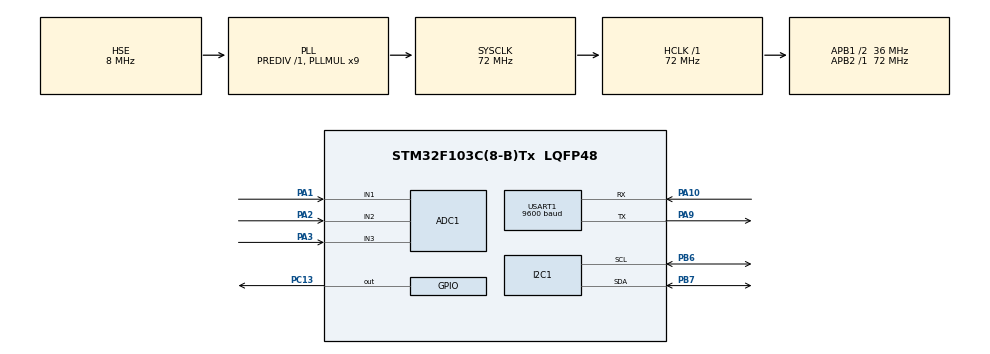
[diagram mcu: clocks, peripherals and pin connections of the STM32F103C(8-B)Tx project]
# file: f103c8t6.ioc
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ADC1.Channel-1\#ChannelRegularConversion=ADC_CHANNEL_1
ADC1.Channel-2\#ChannelRegularConversion=ADC_CHANNEL_1
ADC1.Channel-3\#ChannelRegularConversion=ADC_CHANNEL_1
ADC1.ContinuousConvMode=DISABLE
ADC1.EnableInjectedConversion=DISABLE
ADC1.ExternalTrigConv=ADC_EXTERNALTRIGCONV_T2_CC2
ADC1.InjNumberOfConversion=0
ADC1.NbrOfConversion=3
ADC1.NbrOfConversionFlag=1
ADC1.Rank-1\#ChannelRegularConversion=1
ADC1.Rank-2\#ChannelRegularConversion=2
ADC1.Rank-3\#ChannelRegularConversion=3
ADC1.SamplingTime-1\#ChannelRegularConversion=ADC_SAMPLETIME_1CYCLE_5
ADC1.SamplingTime-2\#ChannelRegularConversion=ADC_SAMPLETIME_1CYCLE_5
ADC1.SamplingTime-3\#ChannelRegularConversion=ADC_SAMPLETIME_1CYCLE_5
ADC1.master=1
Dma.ADC1.0.Direction=DMA_PERIPH_TO_MEMORY
Dma.ADC1.0.Instance=DMA1_Channel1
Dma.ADC1.0.MemDataAlignment=DMA_MDATAALIGN_HALFWORD
Dma.ADC1.0.MemInc=DMA_MINC_ENABLE
Dma.ADC1.0.Mode=DMA_CIRCULAR
Dma.ADC1.0.PeriphDataAlignment=DMA_PDATAALIGN_HALFWORD
Dma.ADC1.0.PeriphInc=DMA_PINC_DISABLE
Dma.ADC1.0.Priority=DMA_PRIORITY_HIGH
Dma.Request0=ADC1
Mcu.Family=STM32F1
Mcu.Name=STM32F103C(8-B)Tx
Mcu.Package=LQFP48
NVIC.ADC1_2_IRQn=true\:5\:0\:true\:false\:true\:true\:true
NVIC.DMA1_Channel1_IRQn=true\:0\:0\:false\:false\:true\:false\:true
NVIC.PriorityGroup=NVIC_PRIORITYGROUP_4
NVIC.TIM2_IRQn=true\:1\:0\:true\:false\:true\:true\:true
NVIC.TIM3_IRQn=true\:2\:0\:true\:false\:true\:true\:true
PA1.Signal=ADCx_IN1
PA10.Mode=Asynchronous
PA10.Signal=USART1_RX
PA13.Mode=Serial_Wire
PA13.Signal=SYS_JTMS-SWDIO
PA14.Mode=Serial_Wire
PA14.Signal=SYS_JTCK-SWCLK
PA2.Signal=ADCx_IN2
PA3.Signal=ADCx_IN3
PA9.Mode=Asynchronous
PA9.Signal=USART1_TX
PB6.Mode=I2C
PB6.Signal=I2C1_SCL
PB7.Mode=I2C
PB7.Signal=I2C1_SDA
PC13-TAMPER-RTC.Signal=GPIO_Output
PD0-OSC_IN.Mode=HSE-External-Oscillator
PD0-OSC_IN.Signal=RCC_OSC_IN
PD1-OSC_OUT.Mode=HSE-External-Oscillator
PD1-OSC_OUT.Signal=RCC_OSC_OUT
ProjectManager.HeapSize=0x200
ProjectManager.StackSize=0x400
ProjectManager.TargetToolchain=SW4STM32
RCC.ADCPresc=RCC_ADCPCLK2_DIV6
RCC.AHBFreq_Value=72000000
RCC.APB1CLKDivider=RCC_HCLK_DIV2
RCC.APB1Freq_Value=36000000
RCC.APB1TimFreq_Value=72000000
RCC.APB2Freq_Value=72000000
RCC.APB2TimFreq_Value=72000000
RCC.HCLKFreq_Value=72000000
RCC.PLLMUL=RCC_PLL_MUL9
RCC.PLLSourceVirtual=RCC_PLLSOURCE_HSE
RCC.SYSCLKFreq_VALUE=72000000
RCC.SYSCLKSource=RCC_SYSCLKSOURCE_PLLCLK
RCC.USBFreq_Value=72000000
SH.ADCx_IN1.0=ADC1_IN1,IN1
SH.ADCx_IN2.0=ADC1_IN2,IN2
SH.ADCx_IN3.0=ADC1_IN3,IN3
TIM2.AutoReloadPreload=TIM_AUTORELOAD_PRELOAD_ENABLE
TIM2.Channel-PWM\ Generation2\ No\ Output=TIM_CHANNEL_2
TIM2.Period=20
TIM2.Prescaler=71
TIM3.Period=1000
TIM3.Prescaler=71
USART1.BaudRate=9600
USART1.VirtualMode=VM_ASYNC
VP_ADC1_TempSens_Input.Mode=IN-TempSens
VP_ADC1_Vref_Input.Mode=IN-Vrefint
VP_TIM2_VS_ClockSourceINT.Mode=Internal
VP_TIM2_VS_no_output2.Mode=PWM Generation2 No Output
VP_TIM3_VS_ClockSourceINT.Mode=Internal
board=custom

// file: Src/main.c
/* USER CODE BEGIN Header */
/**
  ******************************************************************************
  * @file           : main.c
  * @brief          : Main program body
  ******************************************************************************
  * @attention
  *
  * <h2><center>&copy; Copyright (c) 2021 STMicroelectronics.
  * All rights reserved.</center></h2>
  *
  * This software component is licensed by ST under BSD 3-Clause license,
  * the "License"; You may not use this file except in compliance with the
  * License. You may obtain a copy of the License at:
  *                        opensource.org/licenses/BSD-3-Clause
  *
  ******************************************************************************
  */
/* USER CODE END Header */
#include "main.h"
#include "adc.h"
#include "dma.h"
#include "i2c.h"
#include "tim.h"
#include "usart.h"
#include "gpio.h"

/* USER CODE BEGIN Includes */
#include <stdio.h>
#include <stdbool.h>
#include "valuepack.h"
#include "retarget.h"
#include "oled.h"
/* USER CODE END Includes */

/* USER CODE BEGIN PD */
#define ADC_MAX_NUM 3*100
#define ADC_CHANNEL_CNT 3
#define FREQ_T 0.048
/* USER CODE END PD */

/* USER CODE BEGIN PV */
uint16_t ADC_Values[ADC_MAX_NUM]={0};
uint16_t adc_value_flg=0;
double vpp=0,v_max=0,v_min=5,ff=0,tim=0;
double ft=0.0,f_tp[5]={0};
bool fb=0,zb=0,sb=0,mv=0;
uint8_t *s_vpp="",*s_max="",*s_min="",*ad="ADC:    v",*ch_mv="%.1f",*ch_v="%.3f";
uint8_t *ch="";
int f=0;
/* USER CODE END PV */

void SystemClock_Config(void);
/* USER CODE BEGIN PFP */

void start_adc(){
    HAL_TIM_Base_Start_IT(&htim2);
    HAL_TIM_Base_Start_IT(&htim3);
    HAL_TIM_PWM_Start(&htim2,TIM_CHANNEL_2);
    HAL_ADC_Start_DMA(&hadc1,(uint32_t *)ADC_Values,ADC_MAX_NUM);
}
/**
void get_ADC_Channel_Val(void)
{
    uint8_t i = 0;
    for(i=0;i<ADC_CHANNEL_CNT;i++)
    {
        ADC_eva[i] = 0;
    }

    for(i=0;i<ADC_CHANNEL_CNT;i++)
    {
        ADC_eva[0] +=  ADC_Values[i*3+0];
        ADC_eva[1] +=  ADC_Values[i*3+1];
        ADC_eva[2] +=  ADC_Values[i*3+2];
    }

    for(i=0;i<ADC_CHANNEL_CNT;i++)
    {
        ADC_eva[i] /= 5;
    }
}
*/
/**
uint16_t get_adc() {
    HAL_ADC_Start(&hadc1);
    HAL_ADC_PollForConversion(&hadc1, 10);

    if (HAL_IS_BIT_SET(HAL_ADC_GetState(&hadc1), HAL_ADC_STATE_REG_EOC)) {
        return HAL_ADC_GetValue(&hadc1);
    }
    return 0;
}*/
//ADC转换完成自动调用函数
void HAL_ADC_ConvCpltCallback(ADC_HandleTypeDef* hadc){

    //获取值并存储
    ADC_Values[adc_value_flg++]=HAL_ADC_GetValue(hadc);
    //HAL_GPIO_TogglePin(GPIOC, GPIO_PIN_13);
    if(adc_value_flg==ADC_MAX_NUM)
    {
        adc_value_flg=0;//清零下标
    }

}
void get_ff(void)
{
    double num=0;
    for(int i=0;i<5;i++){
        num+=f_tp[i];
    }
    ff=num/5;
}
void HAL_TIM_PeriodElapsedCallback(TIM_HandleTypeDef *htim)
{
    if(htim==(&htim2))
    {
        HAL_ADC_Start_DMA(&hadc1,(uint32_t *)ADC_Values,ADC_MAX_NUM);
        ft=((float )ADC_Values[0]/4096*3.3);

    }
    if(htim==(&htim3))
    {
        int tim1=0,tim2=0;
        HAL_GPIO_TogglePin(GPIOC, GPIO_PIN_13);
        float max=0,min=0,n;
        for(int i=0;i<100;i++)
        {
            n=((float )ADC_Values[i*3]/4096*3.3);
            if(ADC_Values[i*3-3]<ADC_Values[i*3]&&ADC_Values[i*3]>ADC_Values[i*3+3]&&tim1==0){tim1=i;}
            else if(ADC_Values[i*3-3]<ADC_Values[i*3]&&ADC_Values[i*3]>ADC_Values[i*3+3]&&tim2==0){tim2=i;}
            else if(tim2>tim1){
                tim=tim2-tim1;
                switch (f) {
                    case 0:
                        f_tp[f]=1/(0.000001*tim)*FREQ_T;
                        f++;
                        break;
                    case 1:
                        f_tp[f]=1/(0.000001*tim)*FREQ_T;
                        f++;
                        break;
                    case 2:
                        f_tp[f]=1/(0.000001*tim)*FREQ_T;
                        f++;
                        break;
                    case 3:
                        f_tp[f]=1/(0.000001*tim)*FREQ_T;
                        f++;
                        break;
                    case 4:
                        f_tp[f]=1/(0.000001*tim)*FREQ_T;
                        f=0;
                        break;
                }

            }
            if(n>max){max=n;min=-max;}else{vpp=max-min;}

        }
        if(vpp<=1.0){
            vpp=1000*vpp;
            s_vpp="Vpp:     mv";
            v_max=1000*max;
            s_max="Vmax:     mv";
            v_min=1000*min;
            s_min="Vmin:      mv";
            mv=1;
        } else if(vpp>1.0)
        {
            v_max=max;v_min=min;
            s_vpp="Vpp:     v ";
            s_max="Vmax:      v ";
            s_min="Vmin:       v  ";
            mv=0;
        }
        if(f==0){get_ff();}
    }

    //v_temp1=((float )ADC_Values[0]/4096*3.3);
    //v_temp2=((float )ADC_Values[1]/4096*3.3);
    //v_temp3=((float )ADC_Values[2]/4096*3.3);
    //get_ADC_Channel_Val();
}

/* USER CODE END PFP */

int main(void)
{

  /* MCU Configuration--------------------------------------------------------*/

  /* Reset of all peripherals, Initializes the Flash interface and the Systick. */
  HAL_Init();

  /* Configure the system clock */
  SystemClock_Config();

  /* Initialize all configured peripherals */
  MX_GPIO_Init();
  MX_I2C1_Init();
  MX_USART1_UART_Init();
  MX_DMA_Init();
  MX_ADC1_Init();
  MX_TIM2_Init();
  MX_TIM3_Init();
  /* USER CODE BEGIN 2 */
  OLED_Init();
  OLED_ON();
  OLED_CLS();
  HAL_ADCEx_Calibration_Start(&hadc1);
  RetargetInit(&huart1);
  OLED_ShowChinese(0,0,0,16);
  OLED_ShowChinese(16,0,1,16);
  OLED_ShowChinese(32,0,2,16);
  OLED_ShowChinese(48,0,3,16);
  OLED_Refresh();
  /* USER CODE END 2 */

  /* Infinite loop */
  /* USER CODE BEGIN WHILE */
  start_adc();
    while (1)
    {
        if (mv){
            ch=ch_mv;
        } else{ch=ch_v;}
        printf("采样值：%.4f\t峰峰值：%.3f\n",ft,vpp);
        OLED_ShowString(0,16,ad,12);
        OLED_ShowFloat(24,16,ft,12,"%.2f");
        OLED_ShowString(0,28,s_vpp,12);
        OLED_ShowFloat(24,28,vpp,12,ch);
        OLED_ShowString(0,40,s_max,12);
        OLED_ShowFloat(32,40,v_max,12,ch);
        OLED_ShowString(0,52,s_min,12);
        OLED_ShowFloat(32,52,v_min,12,ch);
        OLED_ShowString(72,16,"Freq:",12);
        OLED_ShowFloat(72,32,ff,12,"%.2f");
        OLED_Refresh();
    /* USER CODE END WHILE */

    /* USER CODE BEGIN 3 */
        unsigned char Tx_pack[150];
        startValuePack(Tx_pack);
        putBool(fb);
        putBool(zb);
        putBool(sb);
        putFloat(vpp);
        putFloat(ft);
        putFloat(v_max);
        putFloat(v_min);
        putFloat(ff);
        sendBuffer(Tx_pack,(endValuePack()));
        HAL_Delay(5);
        //v_min=v_max=vpp=0;
    }
  /* USER CODE END 3 */
}

void SystemClock_Config(void)
{
  RCC_OscInitTypeDef RCC_OscInitStruct = {0};
  RCC_ClkInitTypeDef RCC_ClkInitStruct = {0};
  RCC_PeriphCLKInitTypeDef PeriphClkInit = {0};

  /** Initializes the RCC Oscillators according to the specified parameters
  * in the RCC_OscInitTypeDef structure.
  */
  RCC_OscInitStruct.OscillatorType = RCC_OSCILLATORTYPE_HSE;
  RCC_OscInitStruct.HSEState = RCC_HSE_ON;
  RCC_OscInitStruct.HSEPredivValue = RCC_HSE_PREDIV_DIV1;
  RCC_OscInitStruct.HSIState = RCC_HSI_ON;
  RCC_OscInitStruct.PLL.PLLState = RCC_PLL_ON;
  RCC_OscInitStruct.PLL.PLLSource = RCC_PLLSOURCE_HSE;
  RCC_OscInitStruct.PLL.PLLMUL = RCC_PLL_MUL9;
  if (HAL_RCC_OscConfig(&RCC_OscInitStruct) != HAL_OK)
  {
    Error_Handler();
  }
  /** Initializes the CPU, AHB and APB buses clocks
  */
  RCC_ClkInitStruct.ClockType = RCC_CLOCKTYPE_HCLK|RCC_CLOCKTYPE_SYSCLK
                              |RCC_CLOCKTYPE_PCLK1|RCC_CLOCKTYPE_PCLK2;
  RCC_ClkInitStruct.SYSCLKSource = RCC_SYSCLKSOURCE_PLLCLK;
  RCC_ClkInitStruct.AHBCLKDivider = RCC_SYSCLK_DIV1;
  RCC_ClkInitStruct.APB1CLKDivider = RCC_HCLK_DIV2;
  RCC_ClkInitStruct.APB2CLKDivider = RCC_HCLK_DIV1;

  if (HAL_RCC_ClockConfig(&RCC_ClkInitStruct, FLASH_LATENCY_2) != HAL_OK)
  {
    Error_Handler();
  }
  PeriphClkInit.PeriphClockSelection = RCC_PERIPHCLK_ADC;
  PeriphClkInit.AdcClockSelection = RCC_ADCPCLK2_DIV6;
  if (HAL_RCCEx_PeriphCLKConfig(&PeriphClkInit) != HAL_OK)
  {
    Error_Handler();
  }
}

/* USER CODE BEGIN 4 */
void sendBuffer(unsigned char *p,unsigned short length)
{
    for(int i=0;i<length;i++)
    {
        HAL_UART_Transmit(&huart1, p++,1,0xFFFF);
        while(__HAL_UART_GET_FLAG(&huart1, UART_FLAG_RXNE))
        {}
    }
    printf("\n");
}
/* USER CODE END 4 */

void Error_Handler(void)
{
    __disable_irq();
    while (1)
    {
    }
}

/************************ (C) COPYRIGHT STMicroelectronics *****END OF FILE****/
